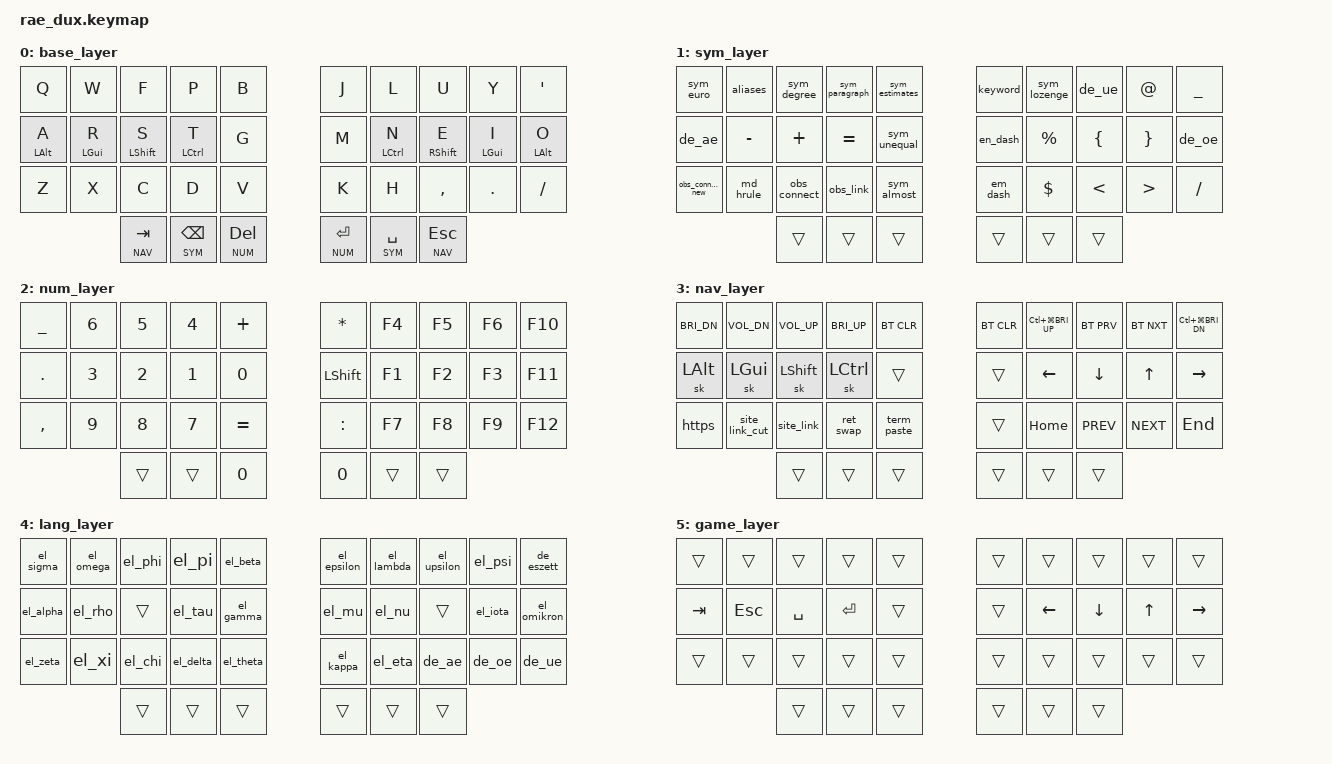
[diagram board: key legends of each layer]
/*
 * Copyright (c) 2021 The ZMK Contributors
 *
 * SPDX-License-Identifier: MIT
 */

#include <behaviors.dtsi>
#include <dt-bindings/zmk/bt.h>
#include <dt-bindings/zmk/keys.h>

#define HOST_OS 1
#include "../zmk-nodefree-config/helper.h"
#include "../zmk-nodefree-config/international_chars/greek.dtsi"
#include "../zmk-nodefree-config/international_chars/german.dtsi"

&sk {
    release-after-ms = <750>;
    quick-release;
};

&caps_word {
    continue-list = <UNDERSCORE MINUS BSPC>;
};

#define ___ &trans

#define BASE_L  0
#define SYM   1
#define NUM   2
#define NAV   3
#define LANG_L  4
#define GAME_L  5

#define KEYS_LEFT 0 1 2 3 4 10 11 12 13 14 20 21 22 23 24  // left hand
#define KEYS_RIGHT 5 6 7 8 9 15 16 17 18 19 25 26 27 28 29  // right hand
#define THUMBS 30 31 32 33 34 35                        // thumbs

ZMK_UNICODE_SINGLE(sym_lozenge, N2, N5, C, A)
ZMK_UNICODE_SINGLE(sym_estimates, N2, N2, N5, N9)
ZMK_UNICODE_SINGLE(sym_unequal, N2, N2, N6, N0)
ZMK_UNICODE_SINGLE(sym_almost, N2, N2, N4, N8)
ZMK_UNICODE_SINGLE(sym_euro, N2, N0, A, C)
ZMK_UNICODE_SINGLE(sym_paragraph, N0, N0, A, N7)
ZMK_UNICODE_SINGLE(sym_degree, N0, N0, B, N0)
ZMK_UNICODE_SINGLE(en_dash, N2, N0, N1, N3)
ZMK_UNICODE_SINGLE(em_dash, N2, N0, N1, N4)
ZMK_UNICODE_SINGLE(sym_precedes, N2, N2, N7, A)
ZMK_UNICODE_SINGLE(sym_succeeds, N2, N2, N7, B)

/ {
    macros {
        ZMK_MACRO(scope, wait-ms = <1>; tap-ms = <1>; bindings = <&kp COLON &kp COLON>;)
        ZMK_MACRO(https, wait-ms = <1>; tap-ms = <1>; bindings = <&kp H &kp T &kp T &kp P &kp S &kp COLON &kp FSLH &kp FSLH>;)
        ZMK_MACRO(keyword, wait-ms = <1>; tap-ms = <1>; bindings = <&kp HASH &kp COLON>;)
        ZMK_MACRO(reallyequal, wait-ms = <1>; tap-ms = <1>; bindings = <&kp EQUAL &kp EQUAL &kp EQUAL>;)
        ZMK_MACRO(reallynotequal, wait-ms = <1>; tap-ms = <1>; bindings = <&kp EXCL &kp EQUAL &kp EQUAL>;)
        ZMK_MACRO(site_link, wait-ms = <20>; tap-ms = <20>; bindings = <&kp LC(L) &kp LC(C) &kp LG(TAB) &kp LC(V) &kp LC(TAB)>;)
        ZMK_MACRO(site_link_cut, wait-ms = <20>; tap-ms = <20>; bindings = <&kp LC(L) &kp LC(C) &kp LC(W) &kp LG(TAB) &kp LC(V)>;)
        ZMK_MACRO(ret_swap, wait-ms = <20>; tap-ms = <20>; bindings = <&kp RET &kp LG(TAB)>;)
        ZMK_MACRO(term_paste, wait-ms = <1>; tap-ms = <1>; bindings = <&kp LC(LS(V))>;)
        ZMK_MACRO(obs_connect, wait-ms = <1>; tap-ms = <1>; bindings = <&kp MINUS &kp LT &kp GT &kp MINUS &kp SPC>;)
        ZMK_MACRO(obs_connect_new, wait-ms = <1>; tap-ms = <1>; bindings = <&sym_precedes &sym_succeeds>;)
        ZMK_MACRO(obs_link, wait-ms = <1>; tap-ms = <1>; bindings = <&kp LBKT &kp LBKT>;)
        ZMK_MACRO(md_hrule, wait-ms = <1>; tap-ms = <1>; bindings = <&kp MINUS &kp MINUS &kp MINUS &kp RET>;)
        ZMK_MACRO(aliases, wait-ms = <1>; tap-ms = <1>; bindings = <&kp A &kp L &kp I &kp A &kp S &kp E &kp S &kp COLON>;)
    };

    combos {
        compatible = "zmk,combos";

        #define COMBO(NAME, BINDINGS, KEYPOS, TIMEOUT) \
              combo_##NAME { \
                timeout-ms = <TIMEOUT>; \
                bindings = <BINDINGS>; \
                key-positions = <KEYPOS>; \
              };

        /*                KEY POSITIONS

          ╭────────────────────╮ ╭────────────────────╮
          │  0   1   2   3   4 │ │  5   6   7   8   9 │
          │ 10  11  12  13  14 │ │ 15  16  17  18  19 │
          │ 20  21  22  23  24 │ │ 25  26  27  28  29 │
          ╰───────╮ 30  31  32 │ │ 33  34  35 ╭───────╯
                  ╰────────────╯ ╰────────────╯        */

        #define COMBO_TIME 20

        COMBO(excl, &kp EXCL, 1 11, COMBO_TIME)
        COMBO(grave, &kp GRAVE, 2 12, COMBO_TIME)
        COMBO(scope, &scope, 3 13, COMBO_TIME)
        COMBO(caret, &kp CARET, 4 14, COMBO_TIME)
        COMBO(lpar, &kp LPAR, 11 12, COMBO_TIME)
          // r + t: herdr leader key
        COMBO(orchestrator_leader, &kp F12, 11 13, COMBO_TIME)
        COMBO(lbkt, &kp LBKT, 12 13, COMBO_TIME)
        COMBO(lbrc, &kp LBRC, 13 14, COMBO_TIME)
        COMBO(bslash, &kp BSLH, 11 21, COMBO_TIME)
        COMBO(pipe, &kp PIPE, 12 22, COMBO_TIME)
        COMBO(underscore, &kp UNDER, 13 23, COMBO_TIME)
        COMBO(tilde, &kp TILDE, 14 24, COMBO_TIME)
        COMBO(equal, &kp EQUAL, 21 22, COMBO_TIME)
        COMBO(reallyequal, &reallyequal, 22 23, COMBO_TIME)

        COMBO(switch_lang, &sl LANG_L, 21 23, COMBO_TIME)
        COMBO(toggle_game_layer, &tog GAME_L, 20 23, COMBO_TIME)

        COMBO(dollar, &kp DLLR, 5 15, COMBO_TIME)
        COMBO(hash, &kp HASH, 6 16, COMBO_TIME)
        COMBO(semicolon, &kp SEMI, 7 17, COMBO_TIME)
        COMBO(at, &kp AT, 8 18, COMBO_TIME)
        COMBO(rbrc, &kp RBRC, 15 16, COMBO_TIME)
        COMBO(rbkt, &kp RBKT, 16 17, COMBO_TIME)
        // N + I: dedicated kitty leader, preserving normal letter taps.
        COMBO(kitty_leader, &kp LC(SPC), 16 18, COMBO_TIME)
        COMBO(rpar, &kp RPAR, 17 18, COMBO_TIME)
        COMBO(ampersand, &kp AMPS, 15 25, COMBO_TIME)
        COMBO(minus, &kp MINUS, 16 26, COMBO_TIME)
        COMBO(star, &kp STAR, 17 27, COMBO_TIME)
        COMBO(plus, &kp PLUS, 18 28, COMBO_TIME)
        COMBO(reallynotequal, &reallynotequal, 26 27, COMBO_TIME)
        COMBO(caps_word, &caps_word, 26 28, COMBO_TIME)
        COMBO(colon, &kp COLON, 27 28, COMBO_TIME)

    };

    behaviors {
        lhm: left_hand_positional_hold_tap {
            compatible = "zmk,behavior-hold-tap";
            label = "LEFT_POSITIONAL_HOLD_TAP";
            #binding-cells = <2>;
            flavor = "balanced";
            tapping-term-ms = <230>;
            quick-tap-ms = <100>;
            global-quick-tap;
            bindings = <&kp>, <&kp>;
            hold-trigger-key-positions = <KEYS_RIGHT THUMBS>;
        };

        rhm: right_hand_positional_hold_tap {
            compatible = "zmk,behavior-hold-tap";
            label = "RIGHT_POSITIONAL_HOLD_TAP";
            #binding-cells = <2>;
            flavor = "balanced";
            tapping-term-ms = <230>;
            quick-tap-ms = <100>;
            global-quick-tap;
            bindings = <&kp>, <&kp>;
            hold-trigger-key-positions = <KEYS_LEFT THUMBS>;
        };
    };

    keymap {
        compatible = "zmk,keymap";

        base_layer {
            bindings = <
                // ╭─────────────┬─────────────┬─────────────┬─────────────┬─────────────╮╭─────────────┬─────────────┬─────────────┬─────────────┬─────────────╮
                     &kp Q         &kp W         &kp F         &kp P         &kp B          &kp J         &kp L         &kp U         &kp Y         &kp APOS
                // ├─────────────┼─────────────┼─────────────┼─────────────┼─────────────┤├─────────────┼─────────────┼─────────────┼─────────────┼─────────────┤
                     &lhm LALT A   &lhm LGUI R   &lhm LSHFT S  &lhm LCTRL T  &kp G          &kp M         &rhm LCTRL N  &rhm RSHFT E  &rhm LGUI I   &rhm LALT O
                // ├─────────────┼─────────────┼─────────────┼─────────────┼─────────────┤├─────────────┼─────────────┼─────────────┼─────────────┼─────────────┤
                     &kp Z         &kp X         &kp C         &kp D         &kp V          &kp K         &kp H         &kp COMMA     &kp DOT       &kp FSLH
                // ╰─────────────┼─────────────┴─────────────┼─────────────┼─────────────┤├─────────────┼─────────────┼─────────────┴───────────────────────────╯
                /*&            &*/              &lt NAV TAB   &lt SYM BSPC  &lt NUM DEL    &lt NUM RET   &lt SYM SPC   &lt NAV ESC  /*&             &*/
                //                             ╰─────────────┴─────────────┴─────────────╯╰─────────────┴─────────────┴─────────────╯
            >;
        };

        sym_layer {
            bindings = <
                // ╭─────────────┬─────────────┬─────────────┬─────────────┬─────────────╮╭─────────────┬─────────────┬─────────────┬─────────────┬─────────────╮
                    &sym_euro      &aliases      &sym_degree  &sym_paragraph &sym_estimates &keyword      &sym_lozenge  &de_ue        &kp AT        &kp UNDER
                // ├─────────────┼─────────────┼─────────────┼─────────────┼─────────────┤├─────────────┼─────────────┼─────────────┼─────────────┼─────────────┤
                    &de_ae         &kp MINUS     &kp PLUS      &kp EQUAL     &sym_unequal   &en_dash      &kp PRCNT     &kp LBRC      &kp RBRC      &de_oe
                // ├─────────────┼─────────────┼─────────────┼─────────────┼─────────────┤├─────────────┼─────────────┼─────────────┼─────────────┼─────────────┤
                    &obs_connect_new &md_hrule   &obs_connect  &obs_link     &sym_almost    &em_dash      &kp DLLR      &kp LT        &kp GT        &kp FSLH
                // ╰─────────────┼─────────────┴─────────────┼─────────────┼─────────────┤├─────────────┼─────────────┼─────────────┴───────────────────────────╯
                /*&            &*/               ___           ___           ___            ___           ___           ___          /*&             &*/
                //                             ╰─────────────┴─────────────┴─────────────╯╰─────────────┴─────────────┴─────────────╯
            >;
        };

        num_layer {
            bindings = <
                // ╭─────────────┬─────────────┬─────────────┬─────────────┬─────────────╮╭─────────────┬─────────────┬─────────────┬─────────────┬─────────────╮
                     &kp UNDER     &kp N6        &kp N5        &kp N4        &kp PLUS       &kp STAR      &kp F4        &kp F5        &kp F6        &kp F10
                // ├─────────────┼─────────────┼─────────────┼─────────────┼─────────────┤├─────────────┼─────────────┼─────────────┼─────────────┼─────────────┤
                     &kp DOT       &kp N3        &kp N2        &kp N1        &kp N0         &kp LSHFT     &kp F1        &kp F2        &kp F3        &kp F11
                // ├─────────────┼─────────────┼─────────────┼─────────────┼─────────────┤├─────────────┼─────────────┼─────────────┼─────────────┼─────────────┤
                     &kp COMMA     &kp N9        &kp N8        &kp N7        &kp EQUAL      &kp COLON     &kp F7        &kp F8        &kp F9        &kp F12
                // ╰─────────────┼─────────────┴─────────────┼─────────────┼─────────────┤├─────────────┼─────────────┼─────────────┴───────────────────────────╯
                /*&            &*/               ___           ___           &kp N0         &kp N0        ___           ___          /*&             &*/
                //                             ╰─────────────┴─────────────┴─────────────╯╰─────────────┴─────────────┴─────────────╯
            >;
        };

        nav_layer {
            bindings = <
                // ╭─────────────┬─────────────┬─────────────┬─────────────┬─────────────╮╭─────────────┬─────────────┬─────────────┬─────────────┬─────────────╮
                     &kp C_BRI_DN  &kp C_VOL_DN  &kp C_VOL_UP  &kp C_BRI_UP  &bt BT_CLR    &bt BT_CLR &kp LC(LG(C_BRI_UP)) &bt BT_PRV &bt BT_NXT  &kp LC(LG(C_BRI_DN))
                // ├─────────────┼─────────────┼─────────────┼─────────────┼─────────────┤├─────────────┼─────────────┼─────────────┼─────────────┼─────────────┤
                     &sk LALT      &sk LGUI      &sk LSHFT     &sk LCTRL     ___            ___           &kp LEFT      &kp DOWN      &kp UP        &kp RIGHT
                // ├─────────────┼─────────────┼─────────────┼─────────────┼─────────────┤├─────────────┼─────────────┼─────────────┼─────────────┼─────────────┤
                     &https       &site_link_cut &site_link    &ret_swap     &term_paste    ___           &kp HOME      &kp K_PREV    &kp K_NEXT    &kp END
                // ╰─────────────┼─────────────┴─────────────┼─────────────┼─────────────┤├─────────────┼─────────────┼─────────────┴───────────────────────────╯
                /*&            &*/               ___           ___           ___            ___           ___           ___          /*&             &*/
                //                             ╰─────────────┴─────────────┴─────────────╯╰─────────────┴─────────────┴─────────────╯
            >;
        };

        lang_layer {
            bindings = <
                // ╭─────────────┬─────────────┬─────────────┬─────────────┬─────────────╮╭─────────────┬─────────────┬─────────────┬─────────────┬─────────────╮
                     &el_sigma     &el_omega     &el_phi       &el_pi        &el_beta       &el_epsilon   &el_lambda    &el_upsilon   &el_psi       &de_eszett
                // ├─────────────┼─────────────┼─────────────┼─────────────┼─────────────┤├─────────────┼─────────────┼─────────────┼─────────────┼─────────────┤
                     &el_alpha     &el_rho       ___           &el_tau       &el_gamma      &el_mu        &el_nu        ___           &el_iota      &el_omikron
                // ├─────────────┼─────────────┼─────────────┼─────────────┼─────────────┤├─────────────┼─────────────┼─────────────┼─────────────┼─────────────┤
                     &el_zeta      &el_xi        &el_chi       &el_delta     &el_theta      &el_kappa     &el_eta       &de_ae        &de_oe        &de_ue
                // ╰─────────────┼─────────────┴─────────────┼─────────────┼─────────────┤├─────────────┼─────────────┼─────────────┴───────────────────────────╯
                                                 ___           ___           ___            ___           ___           ___
                //                             ╰─────────────┴─────────────┴─────────────╯╰─────────────┴─────────────┴─────────────╯
            >;
        };

        game_layer {
            bindings = <
                // ╭─────────────┬─────────────┬─────────────┬─────────────┬─────────────╮╭─────────────┬─────────────┬─────────────┬─────────────┬─────────────╮
                    ___           ___           ___           ___           ___            ___           ___           ___           ___           ___
                // ├─────────────┼─────────────┼─────────────┼─────────────┼─────────────┤├─────────────┼─────────────┼─────────────┼─────────────┼─────────────┤
                    &kp TAB        &kp ESC       &kp SPC       &kp RET       ___            ___           &kp LEFT      &kp DOWN      &kp UP        &kp RIGHT
                // ├─────────────┼─────────────┼─────────────┼─────────────┼─────────────┤├─────────────┼─────────────┼─────────────┼─────────────┼─────────────┤
                    ___            ___           ___           ___           ___            ___           ___           ___           ___           ___
                // ╰─────────────┼─────────────┼─────────────┼─────────────┼─────────────┤├─────────────┼─────────────┼─────────────┼─────────────┼─────────────┤
                                                ___           ___           ___            ___           ___           ___
                //                             ╰─────────────┴─────────────┴─────────────╯╰─────────────┴─────────────┴─────────────╯
            >;
        };
    };
};
